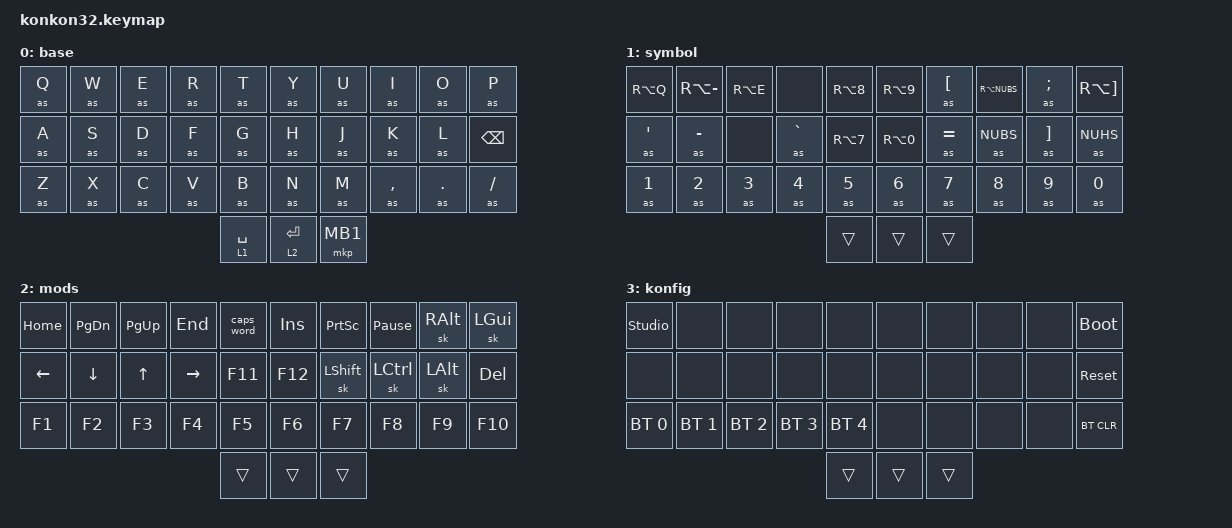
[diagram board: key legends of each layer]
#include <behaviors.dtsi>
#include <dt-bindings/zmk/bt.h>
#include <dt-bindings/zmk/keys.h>
#include <dt-bindings/zmk/pointing.h>
#include <dt-bindings/zmk/mouse.h>

/ {
    macros {
        shift: with_lshift {
            compatible = "zmk,behavior-macro-one-param";
            #binding-cells = <1>;
            bindings =
                <&macro_press>,
                <&kp LSHFT>,
                <&macro_tap>,
                <&macro_param_1to1 &kp MACRO_PLACEHOLDER>,
                <&macro_release>,
                <&kp LEFT_SHIFT>;

            label = "KEY_PRESS_WITH_LEFT_SHIFT_MODIFIER";
        };

        as: autoshift {
            compatible = "zmk,behavior-macro-one-param";
            #binding-cells = <1>;
            bindings =
                <&macro_press>,
                <&macro_param_1to1 &macro_param_1to2 &as_ht MACRO_PLACEHOLDER MACRO_PLACEHOLDER>,
                <&macro_pause_for_release>,
                <&macro_release>,
                <&macro_param_1to1 &macro_param_1to2 &as_ht MACRO_PLACEHOLDER MACRO_PLACEHOLDER>;

            label = "AUTOSHIFT_KEYPRESS";
        };
    };

    behaviors {
        as_ht: autoshift_hold_tap {
            compatible = "zmk,behavior-hold-tap";
            label = "AUTOSHIFT_HOLD_TAP";
            bindings = <&shift>, <&kp>;

            #binding-cells = <2>;
            tapping-term-ms = <300>;
        };
    };

    combos {
        compatible = "zmk,combos";

        escape {
            bindings = <&kp ESCAPE>;
            key-positions = <0 1>;
        };

        tab {
            bindings = <&kp TAB>;
            key-positions = <20 21>;
        };

        ctrl+alt+del {
            bindings = <&kp LA(LC(DEL))>;
            key-positions = <10 12 22>;
        };
    };

    keymap {
        compatible = "zmk,keymap";

        base {
            bindings = <
&as Q  &as W  &as E  &as R  &as T        &as Y        &as U  &as I      &as O    &as P
&as A  &as S  &as D  &as F  &as G        &as H        &as J  &as K      &as L    &kp BACKSPACE
&as Z  &as X  &as C  &as V  &as B        &as N        &as M  &as COMMA  &as DOT  &as SLASH
                            &lt 1 SPACE  &lt 2 ENTER  &mkp MB1
            >;
        };

        symbol {
            bindings = <
&kp RA(Q)         &kp RA(MINUS)  &kp RA(E)  &none      &kp RA(N8)  &kp RA(N9)  &as LBKT   &kp RA(NUBS)  &as SEMI  &kp RA(RBKT)
&as SINGLE_QUOTE  &as MINUS      &none      &as GRAVE  &kp RA(N7)  &kp RA(N0)  &as EQUAL  &as NUBS      &as RBKT  &as NUHS
&as N1            &as N2         &as N3     &as N4     &as N5      &as N6      &as N7     &as N8        &as N9    &as N0
                                                       &trans      &trans      &trans
            >;
        };

        mods {
            bindings = <
&kp HOME  &kp PG_DN  &kp PG_UP  &kp END    &caps_word  &kp INS  &kp PRINTSCREEN  &kp PAUSE_BREAK  &sk RALT  &sk LGUI
&kp LEFT  &kp DOWN   &kp UP     &kp RIGHT  &kp F11     &kp F12  &sk LSHFT        &sk LCTRL        &sk LALT  &kp DEL
&kp F1    &kp F2     &kp F3     &kp F4     &kp F5      &kp F6   &kp F7           &kp F8           &kp F9    &kp F10
                                           &trans      &trans   &trans
            >;
        };

        konfig {
            bindings = <
&studio_unlock  &none         &none         &none         &none         &none   &none  &none  &none  &bootloader
&none           &none         &none         &none         &none         &none   &none  &none  &none  &sys_reset
&bt BT_SEL 0    &bt BT_SEL 1  &bt BT_SEL 2  &bt BT_SEL 3  &bt BT_SEL 4  &none   &none  &none  &none  &bt BT_CLR
                                                          &trans        &trans  &trans
            >;
        };
    };

    conditional_layers {
        compatible = "zmk,conditional-layers";

        konfig {
            if-layers = <1 2>;
            then-layer = <3>;
        };
    };
};
